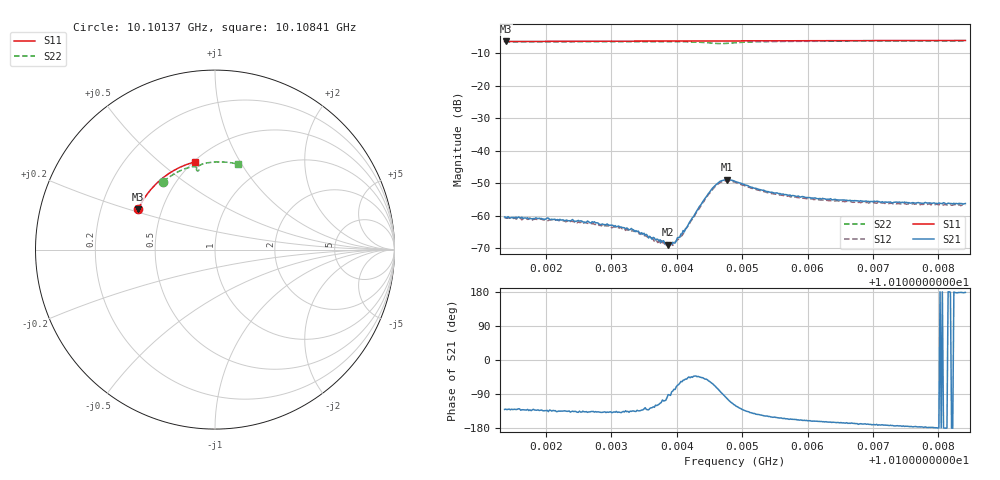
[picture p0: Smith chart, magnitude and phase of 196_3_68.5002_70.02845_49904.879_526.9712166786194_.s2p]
#  HZ  S  RI  R  50.00
! Rohde & Schwarz Vector Network Analyzer
! Rohde-Schwarz,ZNB20-2Port,1311601062101988,3.16
! Created: UTC 3/20/2024, 4:57:20 PM
! freq[Hz]  re:S11  im:S11  re:S21  im:S21  re:S12  im:S12  re:S22  im:S22
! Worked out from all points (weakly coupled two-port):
!   401 points, 10.10137 GHz to 10.10841 GHz, reference 50 ohm
!   highest |S21| = -48.90 dB at 10.10477 GHz (marker M1); lowest = -69.0 dB at 10.10387 GHz (marker M2)
!   lowest |S11| = -6.3 dB at 10.10138 GHz (marker M3), VSWR 2.87, Z = 18.4 + j10.8 ohm
!   |S11| at or under -10 dB: nowhere
!   |S22| runs from -7.0 to -6.1 dB; largest |S21 - S12| = 0.00037
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1.0101365e10  -0.428 0.2239  -0.000619 -0.000726  -0.000533 -0.000749  -0.2877 0.3787
1.0101383e10  -0.4275 0.2249  -0.000605 -0.000726  -0.000505 -0.000768  -0.287 0.3795
1.0101912e10  -0.4132 0.2537  -0.00061 -0.000661  -0.000532 -0.000709  -0.2596 0.4004
1.0102546e10  -0.3934 0.2867  -0.000608 -0.000561  -0.000521 -0.000606  -0.2247 0.4231
1.0102969e10  -0.3787 0.3079  -0.000521 -0.000483  -0.000466 -0.000488  -0.2 0.4365
1.0103374e10  -0.3635 0.3274  -0.000422 -0.000409  -0.00037 -0.000428  -0.1751 0.4476
1.0103586e10  -0.3552 0.3372  -0.000295 -0.00038  -0.000237 -0.000382  -0.1613 0.4529
1.0103727e10  -0.3498 0.3438  -0.000184 -0.000363  -0.000157 -0.000369  -0.1514 0.456
1.0103868e10  -0.3439 0.35  -7.89e-06 -0.000355  -2.18e-05 -0.000352  -0.1414 0.4588
1.0103956e10  -0.3402 0.3539  8.21e-05 -0.000368  0.000108 -0.000357  -0.1349 0.4602
1.0104062e10  -0.3358 0.3585  0.000287 -0.000436  0.000287 -0.000388  -0.1266 0.4615
1.010415e10  -0.332 0.3623  0.000412 -0.0005  0.000473 -0.000455  -0.1194 0.4619
1.0104361e10  -0.3227 0.3713  0.00101 -0.00103  0.00106 -0.000891  -0.1011 0.4586
1.0104555e10  -0.3141 0.3791  0.0012 -0.00244  0.00133 -0.00222  -0.0901 0.4455
1.0104661e10  -0.3095 0.3834  0.000448 -0.00334  0.000701 -0.00315  -0.0938 0.4387
1.0104767e10  -0.3046 0.3874  -0.000735 -0.00351  -0.000401 -0.00342  -0.1009 0.4406
1.010489e10  -0.299 0.3924  -0.00165 -0.00295  -0.00137 -0.00298  -0.1028 0.4506
1.0105401e10  -0.2747 0.4116  -0.00201 -0.00121  -0.00183 -0.00133  -0.0708 0.4762
1.0106071e10  -0.241 0.434  -0.00178 -0.000596  -0.00165 -0.000741  -0.0244 0.4862
1.0106705e10  -0.2073 0.4526  -0.00165 -0.000377  -0.00154 -0.000474  0.0178 0.4886
1.0107252e10  -0.1773 0.4664  -0.0016 -0.0002  -0.00151 -0.000322  0.0533 0.4876
1.0108415e10  -0.1107 0.4888  -0.00153 4.3e-05  -0.00146 -8.23e-05  0.1272 0.4765
